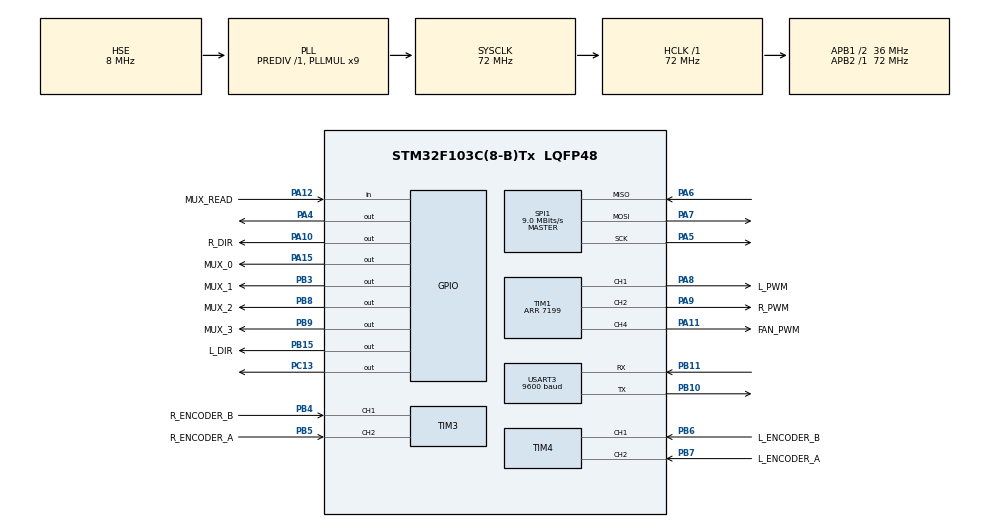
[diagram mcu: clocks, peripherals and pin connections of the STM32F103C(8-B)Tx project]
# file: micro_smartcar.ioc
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Dma.Request0=SPI1_RX
Dma.Request1=SPI1_TX
Dma.SPI1_RX.0.Direction=DMA_PERIPH_TO_MEMORY
Dma.SPI1_RX.0.Instance=DMA1_Channel2
Dma.SPI1_RX.0.MemDataAlignment=DMA_MDATAALIGN_BYTE
Dma.SPI1_RX.0.MemInc=DMA_MINC_ENABLE
Dma.SPI1_RX.0.Mode=DMA_NORMAL
Dma.SPI1_RX.0.PeriphDataAlignment=DMA_PDATAALIGN_BYTE
Dma.SPI1_RX.0.PeriphInc=DMA_PINC_DISABLE
Dma.SPI1_RX.0.Priority=DMA_PRIORITY_LOW
Dma.SPI1_TX.1.Direction=DMA_MEMORY_TO_PERIPH
Dma.SPI1_TX.1.Instance=DMA1_Channel3
Dma.SPI1_TX.1.MemDataAlignment=DMA_MDATAALIGN_BYTE
Dma.SPI1_TX.1.MemInc=DMA_MINC_ENABLE
Dma.SPI1_TX.1.Mode=DMA_NORMAL
Dma.SPI1_TX.1.PeriphDataAlignment=DMA_PDATAALIGN_BYTE
Dma.SPI1_TX.1.PeriphInc=DMA_PINC_DISABLE
Dma.SPI1_TX.1.Priority=DMA_PRIORITY_LOW
Mcu.Family=STM32F1
Mcu.Name=STM32F103C(8-B)Tx
Mcu.Package=LQFP48
NVIC.DMA1_Channel2_IRQn=true\:0\:0\:false\:false\:true\:false\:true\:true
NVIC.DMA1_Channel3_IRQn=true\:0\:0\:false\:false\:true\:false\:true\:true
NVIC.PriorityGroup=NVIC_PRIORITYGROUP_4
NVIC.RCC_IRQn=true\:0\:0\:false\:false\:true\:true\:false\:true
NVIC.SPI1_IRQn=true\:0\:0\:false\:false\:true\:true\:true\:true
NVIC.TIM2_IRQn=true\:1\:0\:true\:false\:true\:true\:true\:true
NVIC.TIM3_IRQn=true\:0\:0\:false\:false\:true\:true\:true\:true
NVIC.TIM4_IRQn=true\:0\:0\:false\:false\:true\:true\:true\:true
NVIC.USART3_IRQn=true\:0\:0\:false\:false\:true\:true\:true\:true
PA10.GPIO_Label=R_DIR
PA10.Signal=GPIO_Output
PA11.GPIO_Label=FAN_PWM
PA11.Signal=S_TIM1_CH4
PA12.GPIO_Label=MUX_READ
PA12.Signal=GPIO_Input
PA13.Mode=Serial_Wire
PA13.Signal=SYS_JTMS-SWDIO
PA14.Mode=Serial_Wire
PA14.Signal=SYS_JTCK-SWCLK
PA15.GPIO_Label=MUX_0
PA15.GPIO_Speed=GPIO_SPEED_FREQ_MEDIUM
PA15.Signal=GPIO_Output
PA4.GPIO_PuPd=GPIO_NOPULL
PA4.GPIO_Speed=GPIO_SPEED_FREQ_HIGH
PA4.Signal=GPIO_Output
PA5.Mode=Full_Duplex_Master
PA5.Signal=SPI1_SCK
PA6.Mode=Full_Duplex_Master
PA6.Signal=SPI1_MISO
PA7.Mode=Full_Duplex_Master
PA7.Signal=SPI1_MOSI
PA8.GPIO_Label=L_PWM
PA8.Signal=S_TIM1_CH1
PA9.GPIO_Label=R_PWM
PA9.Signal=S_TIM1_CH2
PB10.Mode=Asynchronous
PB10.Signal=USART3_TX
PB11.Mode=Asynchronous
PB11.Signal=USART3_RX
PB15.GPIO_Label=L_DIR
PB15.Signal=GPIO_Output
PB3.GPIO_Label=MUX_1
PB3.GPIO_Speed=GPIO_SPEED_FREQ_MEDIUM
PB3.Signal=GPIO_Output
PB4.GPIO_Label=R_ENCODER_B
PB4.Signal=S_TIM3_CH1
PB5.GPIO_Label=R_ENCODER_A
PB5.Signal=S_TIM3_CH2
PB6.GPIO_Label=L_ENCODER_B
PB6.Signal=S_TIM4_CH1
PB7.GPIO_Label=L_ENCODER_A
PB7.Signal=S_TIM4_CH2
PB8.GPIO_Label=MUX_2
PB8.GPIO_Speed=GPIO_SPEED_FREQ_MEDIUM
PB8.Signal=GPIO_Output
PB9.GPIO_Label=MUX_3
PB9.GPIO_Speed=GPIO_SPEED_FREQ_MEDIUM
PB9.Signal=GPIO_Output
PC13-TAMPER-RTC.GPIO_ModeDefaultOutputPP=GPIO_MODE_OUTPUT_OD
PC13-TAMPER-RTC.GPIO_PuPd=GPIO_NOPULL
PC13-TAMPER-RTC.Signal=GPIO_Output
PD0-OSC_IN.Mode=HSE-External-Oscillator
PD0-OSC_IN.Signal=RCC_OSC_IN
PD1-OSC_OUT.Mode=HSE-External-Oscillator
PD1-OSC_OUT.Signal=RCC_OSC_OUT
ProjectManager.HeapSize=0x200
ProjectManager.StackSize=0x400
ProjectManager.TargetToolchain=MDK-ARM V5.32
RCC.AHBFreq_Value=72000000
RCC.APB1CLKDivider=RCC_HCLK_DIV2
RCC.APB1Freq_Value=36000000
RCC.APB1TimFreq_Value=72000000
RCC.APB2Freq_Value=72000000
RCC.APB2TimFreq_Value=72000000
RCC.HCLKFreq_Value=72000000
RCC.PLLMUL=RCC_PLL_MUL9
RCC.PLLSourceVirtual=RCC_PLLSOURCE_HSE
RCC.SYSCLKFreq_VALUE=72000000
RCC.SYSCLKSource=RCC_SYSCLKSOURCE_PLLCLK
RCC.USBFreq_Value=72000000
SH.S_TIM1_CH1.0=TIM1_CH1,PWM Generation1 CH1
SH.S_TIM1_CH2.0=TIM1_CH2,PWM Generation2 CH2
SH.S_TIM1_CH4.0=TIM1_CH4,PWM Generation4 CH4
SH.S_TIM3_CH1.0=TIM3_CH1,Encoder_Interface
SH.S_TIM3_CH2.0=TIM3_CH2,Encoder_Interface
SH.S_TIM4_CH1.0=TIM4_CH1,Encoder_Interface
SH.S_TIM4_CH2.0=TIM4_CH2,Encoder_Interface
SPI1.BaudRatePrescaler=SPI_BAUDRATEPRESCALER_8
SPI1.CalculateBaudRate=9.0 MBits/s
SPI1.Direction=SPI_DIRECTION_2LINES
SPI1.Mode=SPI_MODE_MASTER
SPI1.VirtualType=VM_MASTER
TIM1.Channel-PWM\ Generation1\ CH1=TIM_CHANNEL_1
TIM1.Channel-PWM\ Generation2\ CH2=TIM_CHANNEL_2
TIM1.Channel-PWM\ Generation4\ CH4=TIM_CHANNEL_4
TIM1.Period=7199
TIM2.Period=999
TIM2.Prescaler=71
TIM3.EncoderMode=TIM_ENCODERMODE_TI12
TIM4.EncoderMode=TIM_ENCODERMODE_TI12
USART3.BaudRate=9600
USART3.VirtualMode=VM_ASYNC
VP_TIM1_VS_ClockSourceINT.Mode=Internal
VP_TIM2_VS_ClockSourceINT.Mode=Internal
board=custom

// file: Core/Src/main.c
/* USER CODE BEGIN Header */
/**
 ******************************************************************************
 * @file           : main.c
 * @brief          : Main program body
 ******************************************************************************
 * @attention
 *
 * Copyright (c) 2025 STMicroelectronics.
 * All rights reserved.
 *
 * This software is licensed under terms that can be found in the LICENSE file
 * in the root directory of this software component.
 * If no LICENSE file comes with this software, it is provided AS-IS.
 *
 * 本文件内含BMI270�????螺仪的使用示�????
 ******************************************************************************
 */
/* USER CODE END Header */
#include "main.h"
#include "dma.h"
#include "spi.h"
#include "tim.h"
#include "usart.h"
#include "gpio.h"

/* USER CODE BEGIN Includes */
#include "dodo_BMI270.h" //陀螺仪驱动
#include "multiplexer.h" //多路复用器驱动，用于读取光电管读数
#include "stdio.h"
#include "stdlib.h"
#include "math.h"
/* USER CODE END Includes */

/* USER CODE BEGIN PTD */
typedef struct PIDcontrol
{
  int16_t target;
  int16_t actual;
  int16_t nowError;
  int16_t preError;
  int16_t prepreError;
  int32_t integral;
  float derivative;
  float kp, ki, kd;
  float kp2;  // 转向环二次比例系数
  float GKD;  // 转向环陀螺仪反馈项的增益系数
  float A, B; // 变速积分阈值
  float output;
}PID;

typedef struct DisperseControl
{
  int8_t disperse_count;      // 光电管返回值离散区域数量
  int8_t flags;               // 检测标志
}IF_DISPERSE;

typedef struct {
  float wheel_diameter; // 轮子直径
  float wheel_base;     // 轮子间距
  int16_t encoder_ppr;  // 编码器每转脉冲数
  float gyro_scale;     // 陀螺仪比例系数 （度每秒 -> 弧度每秒）
  float motor_reducation_ratio;  //  电机减速比
  int8_t sampling_period;  // 采样周期(ms)
}ROBOT_CONFIG;

typedef struct {
  int32_t left_encoder_count;  // 左编码器计数
  int32_t right_encoder_count; // 右编码器计数
  float gyro_z_rate;      // 陀螺仪z轴角速度
}SENSOR_DATA;

typedef struct {
  float current_X;
  float current_Y;
  float prev_X;
  float prev_Y;
  float current_theta;
  float total_distance;
}POSE;

typedef struct {
  float Ready_angle_distance_Continuous_angle;
  float Finish_angle_distance_Continuous_angle;
  int8_t Pass_cross_line_times;
  int8_t Cross_line_detected_times;
}PATH;
/* USER CODE END PTD */

/* USER CODE BEGIN PD */
#define PHOTO_NUM 12              // 光电管数量
#define integralLimit 20000       // 积分最大值
#define FILTER_SIZE 5             // 微分滤波窗口数量
#define FILTER_SIZE_ERROR 20     // 光电管误差滤波窗口数量
#define HIGH_BASE_SPEED 95       // 高速基准速度
#define READY_TURN_BASE_SPEED 65  // 准备直角转弯基准速度
#define TURN_BASE_SPEED 45       // 直角转弯基准速度

#define LEFT_OUTPUTMAX 3600      // 左电机速度环输出最大值
#define LEFT_OUTPUTMIN -3600     // 左电机速度环输出最小值
#define RIGHT_OUTPUTMAX 3600     // 右电机速度环输出最大值
#define RIGHT_OUTPUTMIN -3600    // 右电机速度环输出最小值
#define TURN_OUTPUTMAX 3000      // 转向环输出最大值
#define TURN_OUTPUTMIN -3000     // 转向环输出最小值
#define FINAL_OUTPUTMAX 5400     // 最终输出最大值
#define FINAL_OUTPUTMIN -5400    // 最终输出最小值
#define DOTTED_LINE_PHOTO_ERROR_LIMIt 441.0f  // 判断虚线的光电管误差阈值
#define RIGHT_ANGLE_PHOTO_ERROR_LIMIT 1319.0f // 判断直角弯的光电管误差阈值
#define PHOTO_ERROR_MAX 500.0f   // 光电管误差能达到的最大值
#define PHOTO_ERROR_MIN -500.0f  // 光电管误差能达到的最小值

#define RIGHT_ANGLE_TURN_KP 0.4f   // 直角转弯时的kp值
#define RIGHT_ANGLE_TURN_KD 0.0f   // 直角转弯时的kd值
#define RIGHT_ANGLE_TURN_GKD -0.23f  // 直角转弯时的GKD值
#define LOSE_lINE_KP 0.35f          // 丢线时的kp值
#define LOSE_lINE_KD 0.0f          // 丢线时的kd值
#define LOSE_LINE_GKD -0.25f         // 丢线时的gkd值
#define RESTORE_KP 0.1f             // 恢复模式的kp值
#define RESTORE_KD 0.03f            // 恢复模式的kd值

#define RIGHT_ANGLE_DETECT_TIMES 6       // 直角转弯的检测次数
#define ROUNDABOUT_DETECT_TIMES 8        // 环岛的检测次数
#define CROSS_LINE_DETECT_TIMES 6        // 十字路口的检测次数

#define RIGHT_ANGLE_TURN_COUNT 1    // 直角转弯模式计数器阈值(现在为禁用状态)
#define RESTORE_NORMAL_COUNT 1     // 恢复模式计数器阈值(现在为禁用状态)
#define ROUNDABOUT_COUNT 180        // 环岛模式总计数器阈值
#define ROUNFABOUT_RUSH_COUNT 70    // 环岛模式直冲计数器阈值

#define First_distance 210.0f  // 第一段里程计
#define Second_distance 660.0f  // 第二段里程计

#define DOTTED_LINE_BEGINNING 88.0f // 虚线起点
#define DOTTED_LINE_END 182.0f // 虚线终点

#define LEFT_MOTOR -1              // 左电机标志
#define RIGHT_MOTOR 1              // 右电机标志
#define TURN 0                     // 转向环标志

#define GYTOZ_0_ERROR 0.1177       // 陀螺仪零漂误差

#define START_RIGHT_ANGLE_MODE 1      // 进入直角转弯模式标志
#define EXIT_RIGHT_ANGLE_MODE 0       // 退出直角转弯模式标志
#define READY_RIGHT_ANGLE_MODE 2      // 准备进入直角转弯模式标志
#define RESTORE_NORMAL_MODE 3         // 进入恢复模式标志
#define ROUNDABOUT_MODE 4             // 环岛模式标志
#define READY_DOTTED_LINE_MODE 5      // 准备通过虚线模式标志

#define PI 3.1415926
/* USER CODE END PD */

/* USER CODE BEGIN PV */
// 缓冲区数组定义,position为位置式PID，incremental为增量式PID,L为左电机，R为右电机`
// volatile是为了防止优化掉这些变量，static是为了限制变量作用域在本文件内
volatile static float diff_buffer_position_turn[FILTER_SIZE] = {0};
volatile static float diff_buffer_position_L[FILTER_SIZE] = {0};
volatile static float diff_buffer_position_R[FILTER_SIZE] = {0};
volatile static float diff_buffer_photo_error[FILTER_SIZE_ERROR] = {0};
volatile static float diff_buffer_gyro_z[FILTER_SIZE] = {0};

volatile static int16_t buf_index_speed_L = 0;   // 速度环左电机微分滤波索引
volatile static int16_t buf_index_speed_R = 0;   // 速度环右电机微分滤波索引
volatile static int16_t buf_index_turn = 0;    // 转向环微分滤波索引
volatile static int16_t buf_index_error = 0;   // 光电管误差索引
volatile static int16_t buf_index_gyro_z = 0;  // 陀螺仪数据索引

volatile static float Error_MAX = 0.0f; // 光电管误差最大值

volatile static float record_error = 0.0f;      // 直角转弯时光电管误差记录
volatile static float record_Error_MAX = 0.0f;  // 光电管最大误差计算函数

volatile static int8_t right_angle_detect_flags = 0;  // 直角弯检测次数
volatile static int8_t roundabout_detect_flags = 0;   // 环岛检测次数
volatile static int8_t record_path_flag = 0;          // 路径规划标志
volatile static int8_t right_angle_turn_record_times = 0; // 直角转弯模式记录次数

volatile uint8_t valid_count = 0;                     // 光电管亮起数量

volatile int16_t Left_actual = 0, Right_actual = 0, Direction_actual = 0; // 左右电机实际速度,和转向环实际位置
volatile int16_t Left_pwm = 0, Right_pwm = 0;                             // 左右电机输出的pwm

volatile static uint32_t count = 0;             // 多路复用时间计数器
volatile static uint32_t right_angle_turn_count = 0;      // 直角转弯模式时间计数器
volatile static uint32_t restore_count = 0;     // 恢复模式时间计数器
volatile static uint32_t roundabout_count = 0;  // 环岛模式时间计数器
volatile static float weighted_sum_record = 0;  // 上一次光电管误差记录

volatile static float record_kp = 0.0f;                  // 用于记录转向环kp值
volatile static float record_kd = 0.0f;                  // 用于记录转向环kd值
volatile static float record_gkd = 0.0f;                 // 用于记录转向环gkd值

volatile static int8_t current_mode = EXIT_RIGHT_ANGLE_MODE;   // 是否处于直角转弯模式标志

volatile static int16_t photo_error_weight[12] = {-440,-360,-280,-200,-120,-120,120,120,200,280,360,440}; // 光电管加权值数组

PID speed_pid_left, speed_pid_right;                     // 速度环PID定义
PID direction_pid;                                       // 转向环PID定义
IF_DISPERSE if_disperse = {0,0};
ROBOT_CONFIG robot_config = {3.0f, 15.0f, 4096, 0.017, 1.0, 1}; // 智能车硬件参数初始化
SENSOR_DATA sensor_data = {0, 0, 0.0f}; // 传感器数据初始化
POSE pose = {0.0f, 0.0f, 0.0f, 0.0f, 0.0f, -9999.0f}; // 位置数据初始化
PATH path_config = {-1.0f, -1.0f, 0, 0}; // 路径规划初始化

float gyro_x, gyro_y, gyro_z, accel_x, accel_y, accel_z; // 陀螺仪数据
/* USER CODE END PV */

void SystemClock_Config(void);
/* USER CODE BEGIN PFP */
// 参数说明：raw_gyro_z 原始陀螺仪z轴数据
float filtered_gyro_z(float raw_gyro_z)
{ // 陀螺仪数据滤波函数
  // 更新滑动窗口
  diff_buffer_gyro_z[buf_index_gyro_z] = raw_gyro_z - GYTOZ_0_ERROR;
  buf_index_gyro_z = (buf_index_gyro_z + 1) % FILTER_SIZE;
  // 计算平均值
  int16_t i = 0;
  float sum = 0.0f;
  for (i = 0; i < FILTER_SIZE; i++)
  {
    sum += diff_buffer_gyro_z[i];
  }
  return sum / FILTER_SIZE;
}

// 功能：获取当前编码器和陀螺仪的数值
void Read_sensors(void)
{
  // 获取当前编码器值
  sensor_data.left_encoder_count = (int16_t)__HAL_TIM_GET_COUNTER(&htim4);
  sensor_data.right_encoder_count = -(int16_t)__HAL_TIM_GET_COUNTER(&htim3);
  // 重置计数器
  __HAL_TIM_SET_COUNTER(&htim4, 0);
  __HAL_TIM_SET_COUNTER(&htim3, 0);

  // 获取滤波后的陀螺仪数据
  sensor_data.gyro_z_rate = filtered_gyro_z(gyro_z);
}

float Compute_dist(float enconder_count)
{
  float wheel_circumference = PI * robot_config.wheel_diameter;
  return ((float)enconder_count / robot_config.encoder_ppr) * robot_config.motor_reducation_ratio * wheel_circumference;
}

void Update_odometry(void)
{
  if(fabs(pose.total_distance + 9999.0f) <= 1e-7) return; // 如果总距离计数器关闭则不更新里程计

  // 计算左右轮的运动距离
  float dist_left = Compute_dist(sensor_data.left_encoder_count);
  float dist_right = Compute_dist(sensor_data.right_encoder_count);
  // 计算车辆整体运动
  float linear_dist = (dist_left + dist_right) / 2;
  // 更新总距离计数器
  pose.total_distance += linear_dist;
}

int8_t Path_choose(void)
{
  if(pose.total_distance > path_config.Ready_angle_distance_Continuous_angle && path_config.Ready_angle_distance_Continuous_angle > 0.0f)
  {
    path_config.Ready_angle_distance_Continuous_angle = -1.0f; // 标记为已进入连续转弯
    path_config.Finish_angle_distance_Continuous_angle = Second_distance; // 此为后续需要完成连续转弯的距离
    pose.total_distance = 0.0f; // 重置总距离计数器
    record_path_flag = 1; // 准备进入连续转弯
  }
  else if(pose.total_distance > path_config.Finish_angle_distance_Continuous_angle && path_config.Finish_angle_distance_Continuous_angle > 0.0f)
  {
    path_config.Finish_angle_distance_Continuous_angle = -1.0f; // 标记为已完成连续转弯
    pose.total_distance = -9999.0f; // 关闭总距离计数器
    record_path_flag = 0; // 完成连续转弯
  }

  return record_path_flag;
}

// 参数说明：weighted_value 光电管误差，diff_buffer_photo_error 光电管误差缓冲区
// 功能：更新缓冲区,寻找光电管误差最大值并返回
float FindMax_WeightedValue(float weighted_value, volatile uint8_t valid_count, volatile float dierroff_buffer_photo_error[])
{ // 光电管误差寻最大值函数
  // 更新滑动窗口
  if(valid_count != 0)
  {
    dierroff_buffer_photo_error[buf_index_error] = weighted_value * valid_count;
    buf_index_error = (buf_index_error + 1) % FILTER_SIZE_ERROR;
  }
  // 寻找最大值并返回
  float MAX = dierroff_buffer_photo_error[0];
  for (int8_t i = 0; i < FILTER_SIZE_ERROR; i++)
  {
    if (fabs(dierroff_buffer_photo_error[i]) > fabs(MAX))
    {
      MAX = dierroff_buffer_photo_error[i];
    }
  }
  return MAX;
}

int8_t If_disperse(uint8_t photo_value, struct DisperseControl* if_disperse) // 判断光电管读数是否离散函数
{
  if(photo_value)
  {
    if_disperse->disperse_count = 0;
    switch (if_disperse->flags)
    {
      case 0:
      if_disperse->flags = 1;
      if_disperse->disperse_count = 1;
      break;
      case 1:
      break;
    }
  }
  else
  {
    if_disperse->flags = 0;
  }

  return if_disperse->disperse_count;
}

float Calculate_Photo_Error(void)
{ // 光电管误差计算函数
  valid_count = 0;
  int16_t weighted_sum = 0;
  uint16_t photo_value = 0;
  uint8_t disperse_sum = 0;

  MUX_get_value(&photo_value);// 获取每个通道的返回值

  for (int i = 0; i < PHOTO_NUM; i++)
  {
    uint8_t photo_value_record = (photo_value >> (PHOTO_NUM - i - 1)) & 1;
    disperse_sum += If_disperse(photo_value_record, &if_disperse);
    if (photo_value_record)
    {
      weighted_sum += photo_error_weight[i]; // 计算加权和
      valid_count++;
    }
  }

  if(disperse_sum == 2)
  {
    roundabout_detect_flags++;
  }
  else
  {
    roundabout_detect_flags = 0;
  }

  if (valid_count == 0)
  {              // 特殊值表示丢线
    return 9999; // 丢线直接退出，防止weighted_sum_record被更新为9999
  }
  weighted_sum_record = (float)weighted_sum / valid_count; // 记录光电管误差并对其进行滤波处理,除以亮起数量取平均，是为了防止亮起数量变化导致误差突变
  return weighted_sum_record;                              // 返回光电管误差
}

// 参数说明：nowError 当前误差，preError 上次误差，kd 微分系数，diff_buffer 滤波缓冲区
float filtered_derivative(int32_t nowError, int32_t preError, float kd,volatile float diff_buffer[], int8_t mode)
{ // 微分缓冲滤波函数
  float raw_diff = 0;
  // 更新目前的微分项
  raw_diff = kd * (nowError - preError);
  // 更新滑动窗口
  if(mode == TURN)
  {
    diff_buffer[buf_index_turn] = raw_diff;
    buf_index_turn = (buf_index_turn + 1) % FILTER_SIZE;
  }
  else if(mode == LEFT_MOTOR)
  {
    diff_buffer[buf_index_speed_L] = raw_diff;
    buf_index_speed_L = (buf_index_speed_L + 1) % FILTER_SIZE;
  }
  else if(mode == RIGHT_MOTOR)
  {
    diff_buffer[buf_index_speed_R] = raw_diff;
    buf_index_speed_R = (buf_index_speed_R + 1) % FILTER_SIZE;
  }
  // 计算平均值
  int16_t i = 0;
  float sum = 0.0f;
  for (i = 0; i < FILTER_SIZE; i++)
  {
    sum += diff_buffer[i];
  }
  return sum / FILTER_SIZE;
}

// 参数解释：pid PID结构体指针，actual 实际位置，judge 判断操作对象
void ComeputePID_Position(PID *pid, int16_t actual, int8_t judge)
{
  pid->actual = actual;
  pid->preError = pid->nowError;
  pid->nowError = pid->target - pid->actual;
  pid->integral += pid->nowError;
  // 调用微分滤波函数
  if (judge == TURN)
  {
    pid->derivative = filtered_derivative(pid->nowError, pid->preError, pid->kd, diff_buffer_position_turn, TURN);
  }
  else
  {
    if (judge == LEFT_MOTOR)
    {
      pid->derivative = filtered_derivative(pid->nowError, pid->preError, pid->kd, diff_buffer_position_L, LEFT_MOTOR);
    }
    else if (judge == RIGHT_MOTOR)
    {
      pid->derivative = filtered_derivative(pid->nowError, pid->preError, pid->kd, diff_buffer_position_R, RIGHT_MOTOR);
    }
  }

  // 变速积分
  // 变速积分（处理正负积分）
  {
    float abs_integral = fabsf((float)pid->integral);
    float coefficient = 1.0f;
    if (pid->A == pid->B)
    {
      coefficient = (abs_integral > pid->A) ? 0.0f : 1.0f; // 避免除以0
    }
    else
    {
      if (abs_integral > pid->A)
      {
        coefficient = 0.0f; // 如果绝对值超过A，积分清零
      }
      else if (abs_integral > pid->B)
      {
        coefficient = (pid->A - abs_integral) / (pid->A - pid->B); // 如果绝对值在B到A之间，线性衰减
      }
    }
    pid->integral = (int32_t)((float)pid->integral * coefficient); // 应用系数（保留符号）
  }

  // 计算output
  if(judge == TURN)
  {
    pid->output = pid->kp * pid->nowError + abs(pid->nowError) * pid->nowError * pid->kp2 + pid->ki * pid->integral + pid->derivative + pid->GKD * sensor_data.gyro_z_rate;
  }
  else
  {
    pid->output = pid->kp * pid->nowError + pid->ki * pid->integral + pid->derivative;
  }

  // 输出限幅
  if (judge == LEFT_MOTOR)
  {
    if (pid->output > LEFT_OUTPUTMAX)
    {
      pid->output = LEFT_OUTPUTMAX;
    }
    else if (pid->output < LEFT_OUTPUTMIN)
    {
      pid->output = LEFT_OUTPUTMIN;
    }
  }
  else if (judge == RIGHT_MOTOR)
  {
    if (pid->output > RIGHT_OUTPUTMAX)
    {
      pid->output = RIGHT_OUTPUTMAX;
    }
    else if (pid->output < RIGHT_OUTPUTMIN)
    {
      pid->output = RIGHT_OUTPUTMIN;
    }
  }
  else
  {
    if (pid->output > TURN_OUTPUTMAX)
    {
      pid->output = TURN_OUTPUTMAX;
    }
    else if (pid->output < TURN_OUTPUTMIN)
    {
      pid->output = TURN_OUTPUTMIN;
    }
  }
}

// 参数说明：motor 电机选择，LEFT_MOTOR 左电机，RIGHT_MOTOR 右电机
void Compute_target(int8_t motor)
{ // 计算电机的目标速度
  if (motor == LEFT_MOTOR)
  {
    if(current_mode == START_RIGHT_ANGLE_MODE) // 直角转弯模式下基准速度线性降为LOW_BASE_SPEED
    {
      speed_pid_left.target = TURN_BASE_SPEED - direction_pid.output;
    }
    else if((current_mode == READY_RIGHT_ANGLE_MODE && right_angle_detect_flags >= 1) || current_mode == READY_DOTTED_LINE_MODE)
    {
      speed_pid_left.target = READY_TURN_BASE_SPEED - direction_pid.output;
    }
    else if(current_mode == RESTORE_NORMAL_MODE)
    {
      speed_pid_left.target = TURN_BASE_SPEED + (READY_TURN_BASE_SPEED - TURN_BASE_SPEED) * ((float)restore_count / RESTORE_NORMAL_COUNT) - direction_pid.output;
    }
    else // 一般情况
    {
      if(Path_choose())
      {
        speed_pid_left.target = READY_TURN_BASE_SPEED - direction_pid.output;
      }
      else
      {
        speed_pid_left.target = HIGH_BASE_SPEED - direction_pid.output;
      }
    }
  }
  else if (motor == RIGHT_MOTOR)
  {
    if(current_mode == START_RIGHT_ANGLE_MODE) // 直角转弯模式下基准速度线性降为LOW_BASE_SPEED
    {
      speed_pid_right.target = TURN_BASE_SPEED + direction_pid.output;
    }
    else if((current_mode == READY_RIGHT_ANGLE_MODE && right_angle_detect_flags >= 1) || current_mode == READY_DOTTED_LINE_MODE)
    {
      speed_pid_right.target = READY_TURN_BASE_SPEED + direction_pid.output;
    }
    else if(current_mode == RESTORE_NORMAL_MODE)
    {
      speed_pid_right.target = TURN_BASE_SPEED + (READY_TURN_BASE_SPEED - TURN_BASE_SPEED) * ((float)restore_count / RESTORE_NORMAL_COUNT) + direction_pid.output;
    }
    else // 一般情况
    {
      if(Path_choose())
      {
        speed_pid_right.target = READY_TURN_BASE_SPEED + direction_pid.output;
      }
      else
      {
        speed_pid_right.target = HIGH_BASE_SPEED + direction_pid.output;
      }
    }
  }
}

void PID_Init(void)
{ // 初始化PID参数
  direction_pid.kp = 0.12f;
  direction_pid.kp2 = 0.0003f;
  direction_pid.ki = 0.0001f;
  direction_pid.kd = 0.0f;
  direction_pid.GKD = -0.25f;
  direction_pid.A = 800.0f;
  direction_pid.B = 200.0f;
  direction_pid.target = 0;

  speed_pid_left.kp = 20.0f;
  speed_pid_left.ki = 2.3f;
  speed_pid_left.kd = 0.0f;
  speed_pid_left.A = 1200.0f;
  speed_pid_left.B = 600.0f;
  speed_pid_left.target = HIGH_BASE_SPEED;

  speed_pid_right.kp = 20.0f;
  speed_pid_right.ki = 2.3f;
  speed_pid_right.kd = 0.0f;
  speed_pid_right.A = 1200.0f;
  speed_pid_right.B = 600.0f;
  speed_pid_right.target = HIGH_BASE_SPEED;

  record_kp = direction_pid.kp; // 记录最初的转向环kp值
  record_kd = direction_pid.kd; // 记录最初的转向环kd值
  record_gkd = direction_pid.GKD; // 记录最初的转向环gkd值
}

float Right_angle_mode(void) // 直角转弯模式函数
{
  // PID参数整定
  direction_pid.kp = RIGHT_ANGLE_TURN_KP;
  direction_pid.kd = RIGHT_ANGLE_TURN_KD;
  direction_pid.GKD = RIGHT_ANGLE_TURN_GKD;

  right_angle_turn_count++;

  return record_error; // 返回已经记录的误差
}

float Ready_right_angle_mode(float photo_error) // 准备进行直角转弯模式函数
{
  if(right_angle_detect_flags >= RIGHT_ANGLE_DETECT_TIMES - 1) // 判断是否连续多次满足进入直角转弯模式条件
  {
    current_mode = START_RIGHT_ANGLE_MODE;
    direction_pid.kp = RIGHT_ANGLE_TURN_KP; // 切换为直角转弯时的kp和kd值
    direction_pid.kd = RIGHT_ANGLE_TURN_KD;
    direction_pid.GKD = RIGHT_ANGLE_TURN_GKD;
    return record_error;
  }
  else if(right_angle_detect_flags == 0)
  {
    if(photo_error > 0)
    {
      record_error = PHOTO_ERROR_MAX;
    }
    else if(photo_error < 0)
    {
      record_error = PHOTO_ERROR_MIN;
    }
    else
    {
      record_error = 0.0f; // 可能进入到十字路口，光电管误差应为0.0f
    }
  }

  right_angle_detect_flags++; // 完成一次对直角弯标志的判断

  return photo_error;
}

float Restore_mode(float photo_error) // 恢复模式函数
{
  direction_pid.kp = RESTORE_KP;
  direction_pid.kd = RESTORE_KD;
  if(photo_error == 9999)
  {
    photo_error = record_error;
  }

  restore_count++;
  return photo_error;
}

float Loseline_mode(void) // 丢线模式函数
{
  // 模式及检测次数重置
  right_angle_detect_flags = 0; // 直角弯检测次数重置
  current_mode = EXIT_RIGHT_ANGLE_MODE; // 退出直角转弯模式
  path_config.Cross_line_detected_times = 0; // 十字路口检测次数重置

  if(pose.total_distance >= DOTTED_LINE_BEGINNING && pose.total_distance <= DOTTED_LINE_END && path_config.Ready_angle_distance_Continuous_angle > 0){
    direction_pid.kp = record_kp;
    direction_pid.kd = record_kd;
    direction_pid.GKD = record_gkd;
    return 0.0f;
  }

    direction_pid.kp = LOSE_lINE_KP;
    direction_pid.kd = LOSE_lINE_KD;
    direction_pid.GKD = LOSE_LINE_GKD;

    if(Error_MAX > 0.0f)
    {
      record_Error_MAX = PHOTO_ERROR_MAX;
    }
    else if(Error_MAX < 0.0f)
    {
      record_Error_MAX = PHOTO_ERROR_MIN;
    }

    return record_Error_MAX;
}

int8_t If_ready_right_angle_turn(float photo_error) // 判断是否准备进入直角转弯模式函数
{
  // if((fabs(photo_error) < RIGHT_ANGLE_PHOTO_ERROR_LIMIT) && (valid_count == 3 || valid_count == 4 || valid_count == 5 || valid_count == 6))
  // {
  //   return 1; // 准备进入直角转弯模式
  // }
  // else
  // {
  //   return 0; // 不准备进入直角转弯模式
  // }
  return 0; // 禁用直角转弯模式
}

int8_t If_on_roundabout(void) // 判断是否处于环岛模式函数
{
  if(roundabout_detect_flags >= ROUNDABOUT_DETECT_TIMES || current_mode == ROUNDABOUT_MODE)
  {
    return 1; // 处于环岛模式
  }
  else
  {
    return 0; // 不处于环岛模式
  }
}

int8_t If_on_right_angle_turn(float photo_error) // 判断是否处于直角转弯模式函数
{
  // if((valid_count >= 7 && valid_count <= 9 && (fabs(photo_error) * (valid_count) >= RIGHT_ANGLE_PHOTO_ERROR_LIMIT)) || current_mode == START_RIGHT_ANGLE_MODE)
  // {
  //   return 1; // 处于直角转弯模式
  // }
  // else
  // {
  //   return 0; // 不处于直角转弯模式
  // }

  return 0;
}

int8_t If_on_cross_line(float photo_error) // 判断是否处于十字路口模式函数
{
  if(valid_count == 12 && (fabs(photo_error) - 0.0f < 1e-7)) // 光电管误差为0且全部亮起
  {
    return 1; // 处于十字路口模式
  }
  else
  {
    return 0; // 不处于十字路口模式
  }
}

float Normal_mode(float photo_error) // 一般模式函数
{
  // 模式及检测次数重置
  right_angle_detect_flags = 0;  // 直角弯检测次数重置，防止上次使用时未置0的检测次数影响到下一次直角弯的连续帧判断
  path_config.Cross_line_detected_times = 0; // 十字路口检测次数重置，防止上次使用时未置0的检测次数影响到下一次十字路口的连续帧判断

  // PID参数整定
  direction_pid.kp = record_kp;
  direction_pid.kd = record_kd;

  if(If_ready_right_angle_turn(photo_error)) // 准备进入直角转弯模式
  {
    current_mode = READY_RIGHT_ANGLE_MODE;
  }
  else // 退出准备进入直角转弯模式
  {
    current_mode = EXIT_RIGHT_ANGLE_MODE;
  }

  return photo_error;
}

float Roundabout_mode(void) // 环岛模式函数
{
  // 模式及检测次数重置
  path_config.Cross_line_detected_times = 0; // 十字路口检测次数重置
  right_angle_detect_flags = 0; // 重置直角转弯检测次数
  if(current_mode != ROUNDABOUT_MODE)
  {
    current_mode = ROUNDABOUT_MODE;
  }

  // PID参数整定
  direction_pid.kp = record_kp;
  direction_pid.kd = record_kd;
  direction_pid.GKD = record_gkd;

  roundabout_count++; // 完成一次对环岛标志的判断

  if(roundabout_count <= ROUNFABOUT_RUSH_COUNT)
  {
    return 0.0f;
  }
  else
  {
    return -500.0f;
  }
}

void Cross_line_mode(void) // 十字路口模式函数
{
  // 模式及检测次数重置
  right_angle_detect_flags = 0; // 重置直角转弯检测次数
  current_mode = EXIT_RIGHT_ANGLE_MODE;

  // PID参数整定
  direction_pid.kp = record_kp;
  direction_pid.kd = record_kd;
  direction_pid.GKD = record_gkd;

  if(path_config.Cross_line_detected_times != -1)
  {
    path_config.Cross_line_detected_times++;
  }

  if(path_config.Cross_line_detected_times >= CROSS_LINE_DETECT_TIMES)
  {
    path_config.Pass_cross_line_times++;
    path_config.Cross_line_detected_times = -1;
    if(path_config.Pass_cross_line_times >= 3)
    {
      current_mode = READY_DOTTED_LINE_MODE; // 准备进入虚线模式
      path_config.Pass_cross_line_times = 0; // 十字路口通过次数清零
      pose.total_distance = 0.0f; // 启用总距离计数器

      // 此为后续需要准备进入直角转弯的距离
      path_config.Ready_angle_distance_Continuous_angle = First_distance;
    }
  }
}

void Turn_control(void) // 转向环控制
{
  if (count % robot_config.sampling_period == 0)
  {
    float photo_error = Calculate_Photo_Error();

    Error_MAX = FindMax_WeightedValue(weighted_sum_record, valid_count ,diff_buffer_photo_error); // 更新光电管误差最大值

    if(current_mode == RESTORE_NORMAL_MODE)
    {
      photo_error = Restore_mode(photo_error);
    }
    else
    {
      if(If_on_roundabout()) // 环岛情况
      {
        photo_error = Roundabout_mode();
      }
      else if(If_on_right_angle_turn(photo_error)) // 准备进入直角转弯模式
      { // 直角转弯情况
        if(current_mode == READY_RIGHT_ANGLE_MODE) // 进入直角转弯模式
        {
          photo_error = Ready_right_angle_mode(photo_error);
        }
        else if(current_mode == START_RIGHT_ANGLE_MODE) // 保持直角转弯模式
        {
          photo_error = Right_angle_mode();
        }
        else if(current_mode == EXIT_RIGHT_ANGLE_MODE) // 一般情况
        {
          direction_pid.kp = record_kp;
          direction_pid.kd = record_kd;
        }
      }
      else if(photo_error == 9999) // 丢线情况
      {
        photo_error = Loseline_mode();
      }
      else if(current_mode == READY_DOTTED_LINE_MODE) // 准备通过虚线情况
      {
        direction_pid.kp = record_kp;
        direction_pid.kd = record_kd;
        direction_pid.GKD = record_gkd;
      }
      else if(If_on_cross_line(photo_error)) // 十字路口情况
      {
        Cross_line_mode();
      }
      else // 一般情况
      {
        photo_error = Normal_mode(photo_error);
      }
    }

    if(right_angle_turn_count >= RIGHT_ANGLE_TURN_COUNT) // 退出直角转弯模式并进入恢复模式
    {
      current_mode = RESTORE_NORMAL_MODE;
      right_angle_detect_flags = 0;  // 直角弯检测次数重置，防止上次使用时未置0的检测次数影响到下一次直角弯的连续帧判断
      right_angle_turn_count = 0; // 直角转弯计数器重置
    }

    if(restore_count >= RESTORE_NORMAL_COUNT) // 退出恢复模式并进入正常模式
    {
      current_mode = EXIT_RIGHT_ANGLE_MODE;
      direction_pid.GKD = record_gkd; // 恢复最初的gkd值
      record_error = 0.0f; // 直角弯误差记录重置
      restore_count = 0; // 恢复计数器重置
    }

    if(roundabout_count >= ROUNDABOUT_COUNT)
    {
      current_mode = EXIT_RIGHT_ANGLE_MODE;
      roundabout_count = 0; // 环岛计数器重置
      roundabout_detect_flags = 0; // 环岛检测次数重置
    }
    Direction_actual = photo_error;
    ComeputePID_Position(&direction_pid, Direction_actual, TURN);
  }
}

void Speed_Control(void)
{ // 速度环控制
  if (count % robot_config.sampling_period == 0)
  {
    Left_actual = sensor_data.left_encoder_count;
    Right_actual = sensor_data.right_encoder_count;

    ComeputePID_Position(&speed_pid_left, Left_actual, LEFT_MOTOR);
    ComeputePID_Position(&speed_pid_right, Right_actual, RIGHT_MOTOR);

    Left_pwm = speed_pid_left.output;
    Right_pwm = speed_pid_right.output;

    /* 最终输出限幅（包含负数情况） */
    /* 限幅：避免嵌套三目运算，增强可读性 */
    if (Left_pwm > FINAL_OUTPUTMAX)
    {
      Left_pwm = FINAL_OUTPUTMAX;
    }
    else if (Left_pwm < FINAL_OUTPUTMIN)
    {
      Left_pwm = FINAL_OUTPUTMIN;
    }

    if (Right_pwm > FINAL_OUTPUTMAX)
    {
      Right_pwm = FINAL_OUTPUTMAX;
    }
    else if (Right_pwm < FINAL_OUTPUTMIN)
    {
      Right_pwm = FINAL_OUTPUTMIN;
    }
  }
}

void Set_Motor_PWM(int8_t motor, int32_t final_pwm)
{ // 电机驱动函数
  if (motor == LEFT_MOTOR)
  { // 左电机驱动
    if (final_pwm > 0)
    {
      TIM1->CCR1 = final_pwm;
      HAL_GPIO_WritePin(GPIOB, GPIO_PIN_15, GPIO_PIN_RESET); // 左电机正转
    }
    else
    {
      TIM1->CCR1 = -final_pwm;
      HAL_GPIO_WritePin(GPIOB, GPIO_PIN_15, GPIO_PIN_SET); // 左电机反转
    }
  }

  if (motor == RIGHT_MOTOR)
  { // 右电机驱动
    if (final_pwm > 0)
    {
      TIM1->CCR2 = final_pwm;
      HAL_GPIO_WritePin(GPIOA, GPIO_PIN_10, GPIO_PIN_SET); // 右电机正转
    }
    else
    {
      TIM1->CCR2 = -final_pwm;
      HAL_GPIO_WritePin(GPIOA, GPIO_PIN_10, GPIO_PIN_RESET); // 右电机反转
    }
  }
}

int fputc(int ch, FILE *f) // 重定义函数
{
  HAL_UART_Transmit(&huart3, (uint8_t *)&ch, 1, 0xffff);
  return ch;
}

/* USER CODE END PFP */

/* USER CODE BEGIN 0 */
void HAL_TIM_PeriodElapsedCallback(TIM_HandleTypeDef *htim)
{ // 定时器中断
  if (htim == &htim2)
  {
    Read_sensors();
    Update_odometry();
    Turn_control();
    Compute_target(LEFT_MOTOR);
    Compute_target(RIGHT_MOTOR);
    Speed_Control();
    Set_Motor_PWM(LEFT_MOTOR, Left_pwm);
    Set_Motor_PWM(RIGHT_MOTOR, Right_pwm);
    count++;
    if (count > 1000)
    {
      count = 1;
    }
  }
}

/* USER CODE END 0 */

int main(void)
{

  /* MCU Configuration--------------------------------------------------------*/

  /* Reset of all peripherals, Initializes the Flash interface and the Systick. */
  HAL_Init();

  /* Configure the system clock */
  SystemClock_Config();

  /* Initialize all configured peripherals */
  MX_GPIO_Init();
  MX_DMA_Init();
  MX_SPI1_Init();
  MX_TIM1_Init();
  MX_TIM2_Init();
  MX_TIM3_Init();
  MX_TIM4_Init();
  MX_USART3_UART_Init();
  /* USER CODE BEGIN 2 */
  dodo_BMI270_init(); // 初始化陀螺仪
  PID_Init();
  HAL_TIM_Base_Start_IT(&htim2);
  HAL_TIM_Encoder_Start(&htim3, TIM_CHANNEL_ALL);
  HAL_TIM_Encoder_Start(&htim4, TIM_CHANNEL_ALL);
  HAL_TIM_PWM_Start(&htim1, TIM_CHANNEL_1);
  HAL_TIM_PWM_Start(&htim1, TIM_CHANNEL_2);
  HAL_TIM_PWM_Start(&htim1,TIM_CHANNEL_4);
  TIM1->CCR4 = 6500;
  /* USER CODE END 2 */

  /* Infinite loop */
  /* USER CODE BEGIN WHILE */
  while (1)
  {
    // 速度环pid调试输出
    // if(count % 1 ==0){
    //   printf("%d %d %.3f %3.f %d %d %.3f\r\n", speed_pid_left.actual, speed_pid_right.actual, sensor_data.gyro_z_rate, Error_MAX, speed_pid_left.target, speed_pid_right.target,gyro_z);
    // }

    //以下为陀螺仪使用示例
    dodo_BMI270_get_data(); // 调用此函数会更新陀螺仪数据
    gyro_z=BMI270_gyro_transition(BMI270_gyro_z); // 将原始陀螺仪数据转换为物理值，单位为度每秒

    // if(count % 10 == 0)
    // {
    //   printf("%f\r\n",gyro_z); // 输出当前模式，测试是否成功启动，正常使用时不需要这行代码
    // }

    //  if(count % 200){
    //   printf("%f\r\n",gyro_z);//输出陀螺仪读数，测试是否成功启动，正常使用时不需要这行代码
    //  }

      // accel_x=BMI270_acc_transition(BMI270_accel_x);//将原始加速度计数据转换为物理值，单位为g，一般不需要使用此数据
    // accel_y=BMI270_acc_transition(BMI270_accel_y);
    // accel_z=BMI270_acc_transition(BMI270_accel_z);
    // printf("G: %f %f %f | A: %f %f %f\r\n", gyro_x, gyro_y, gyro_z, accel_x, accel_y, accel_z);//输出陀螺仪读数，测试是否成功启动，正常使用时不需要这行代码

    // //以下为读取光电管的示例（从左到右编号0~11）
    // uint16_t mux_value;
    // MUX_get_value(&mux_value);
    // for(int i=0;i<=11;i++){
    //   printf("%d,",MUX_GET_CHANNEL(mux_value,i));//获取第i个光电管的数值并输出
    // }
    // printf("\n");
    /* USER CODE END WHILE */

  }
}

void SystemClock_Config(void)
{
  RCC_OscInitTypeDef RCC_OscInitStruct = {0};
  RCC_ClkInitTypeDef RCC_ClkInitStruct = {0};

  /** Initializes the RCC Oscillators according to the specified parameters
  * in the RCC_OscInitTypeDef structure.
  */
  RCC_OscInitStruct.OscillatorType = RCC_OSCILLATORTYPE_HSE;
  RCC_OscInitStruct.HSEState = RCC_HSE_ON;
  RCC_OscInitStruct.HSEPredivValue = RCC_HSE_PREDIV_DIV1;
  RCC_OscInitStruct.HSIState = RCC_HSI_ON;
  RCC_OscInitStruct.PLL.PLLState = RCC_PLL_ON;
  RCC_OscInitStruct.PLL.PLLSource = RCC_PLLSOURCE_HSE;
  RCC_OscInitStruct.PLL.PLLMUL = RCC_PLL_MUL9;
  if (HAL_RCC_OscConfig(&RCC_OscInitStruct) != HAL_OK)
  {
    Error_Handler();
  }

  /** Initializes the CPU, AHB and APB buses clocks
  */
  RCC_ClkInitStruct.ClockType = RCC_CLOCKTYPE_HCLK|RCC_CLOCKTYPE_SYSCLK
                              |RCC_CLOCKTYPE_PCLK1|RCC_CLOCKTYPE_PCLK2;
  RCC_ClkInitStruct.SYSCLKSource = RCC_SYSCLKSOURCE_PLLCLK;
  RCC_ClkInitStruct.AHBCLKDivider = RCC_SYSCLK_DIV1;
  RCC_ClkInitStruct.APB1CLKDivider = RCC_HCLK_DIV2;
  RCC_ClkInitStruct.APB2CLKDivider = RCC_HCLK_DIV1;

  if (HAL_RCC_ClockConfig(&RCC_ClkInitStruct, FLASH_LATENCY_2) != HAL_OK)
  {
    Error_Handler();
  }
}

void Error_Handler(void)
{
  __disable_irq();
  while (1)
  {
  }
}
